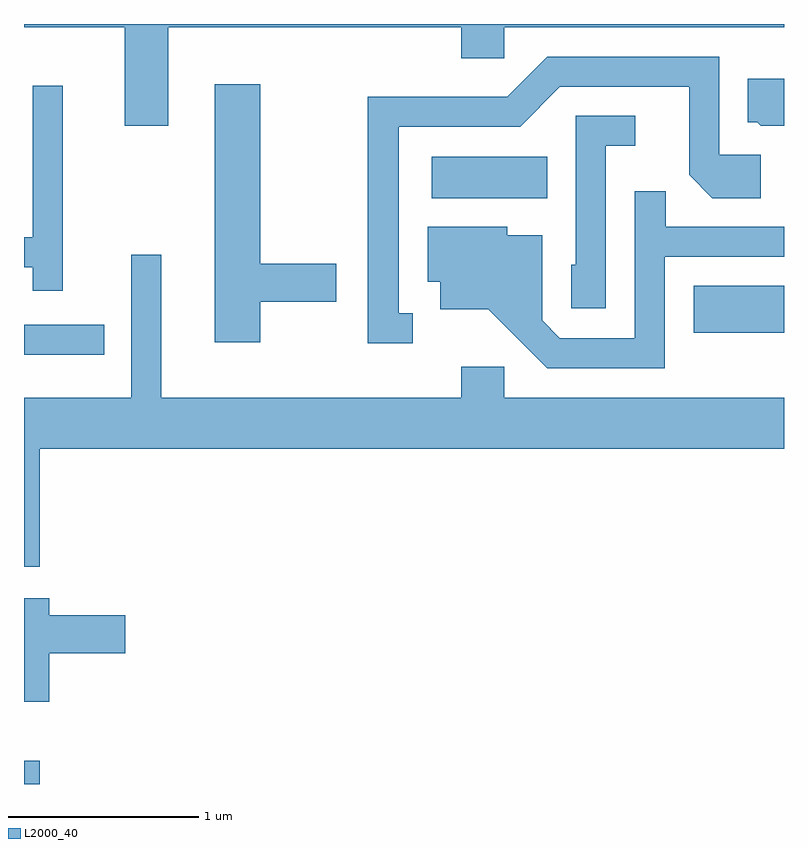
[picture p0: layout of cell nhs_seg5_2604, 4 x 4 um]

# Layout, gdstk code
import gdstk
lib = gdstk.Library(unit=1e-6, precision=1e-09)
def R(c, l, rs):  # rectangles x0, y0, x1, y1
    for r in rs: c.add(gdstk.rectangle(r[:2], r[2:], *l))
def P(c, l, *ps):  # polygons
    for p in ps: c.add(gdstk.Polygon(p, *l))
L2000_40 = (2000, 40)

nhs_seg5_2604 = lib.new_cell('nhs_seg5_2604')
R(nhs_seg5_2604, L2000_40, [(261.611,1526.072,261.694,1526.194), (261.611,1528.331,262.033,1528.489), (265.136,1528.446,265.611,1528.694), (263.756,1529.156,264.364,1529.374)])
P(nhs_seg5_2604, L2000_40, [(262.369,1530.056),(263.911,1530.056),(263.911,1529.891),(264.139,1529.891),(264.139,1530.056),(265.611,1530.056),(265.611,1530.072),(261.611,1530.072),(261.611,1530.056),(262.141,1530.056),(262.141,1529.536),(262.369,1529.536)],
  [(263.658,1528.549),(263.584,1528.549),(263.584,1529.531),(264.222,1529.531),(264.432,1529.741),(265.111,1529.741),(265.111,1529.279),(265.234,1529.156),(265.489,1529.156),(265.489,1529.384),(265.269,1529.384),(265.269,1529.899),(264.364,1529.899),(264.154,1529.689),(263.421,1529.689),(263.421,1528.391),(263.658,1528.391)],
  [(265.611,1529.784),(265.421,1529.784),(265.421,1529.556),(265.469,1529.556),(265.489,1529.536),(265.611,1529.536)],
  [(262.854,1528.611),(263.254,1528.611),(263.254,1528.809),(262.854,1528.809),(262.854,1529.754),(262.616,1529.754),(262.616,1528.396),(262.854,1528.396)],
  [(261.814,1529.748),(261.656,1529.748),(261.656,1528.949),(261.611,1528.949),(261.611,1528.791),(261.656,1528.791),(261.656,1528.668),(261.814,1528.668)],
  [(264.674,1529.431),(264.828,1529.431),(264.828,1529.589),(264.516,1529.589),(264.516,1528.804),(264.491,1528.804),(264.491,1528.576),(264.674,1528.576)],
  [(264.984,1528.846),(265.611,1528.846),(265.611,1529.004),(264.989,1529.004),(264.989,1529.193),(264.826,1529.193),(264.826,1528.419),(264.432,1528.419),(264.339,1528.512),(264.339,1528.959),(264.154,1528.959),(264.154,1529.004),(263.736,1529.004),(263.736,1528.716),(263.801,1528.716),(263.801,1528.571),(264.054,1528.571),(264.364,1528.261),(264.984,1528.261)],
  [(261.694,1527.836),(265.611,1527.836),(265.611,1528.104),(264.139,1528.104),(264.139,1528.269),(263.911,1528.269),(263.911,1528.104),(262.334,1528.104),(262.334,1528.858),(262.176,1528.858),(262.176,1528.104),(261.611,1528.104),(261.611,1527.216),(261.694,1527.216)],
  [(261.744,1526.761),(262.144,1526.761),(262.144,1526.959),(261.744,1526.959),(261.744,1527.049),(261.611,1527.049),(261.611,1526.506),(261.744,1526.506)])

lib.write_gds('nhs_seg5_2604.gds')
